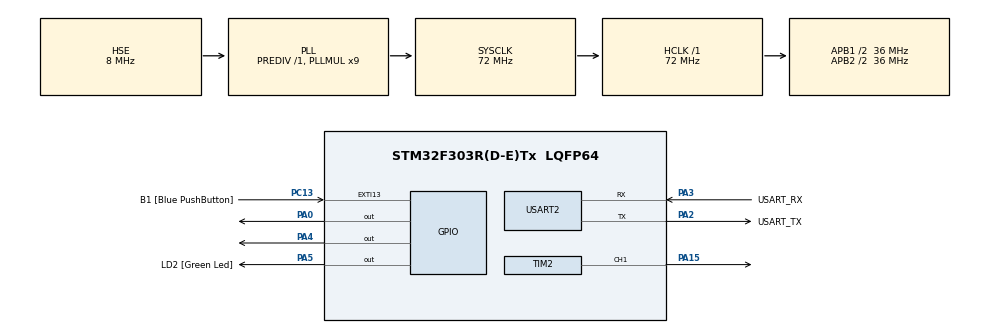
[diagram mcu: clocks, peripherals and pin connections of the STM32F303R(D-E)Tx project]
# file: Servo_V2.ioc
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Mcu.Family=STM32F3
Mcu.Name=STM32F303R(D-E)Tx
Mcu.Package=LQFP64
NVIC.PriorityGroup=NVIC_PRIORITYGROUP_0
PA0.Signal=GPIO_Output
PA13.GPIO_Label=TMS
PA13.Mode=Serial_Wire
PA13.Signal=SYS_JTMS-SWDIO
PA14.GPIO_Label=TCK
PA14.Mode=Serial_Wire
PA14.Signal=SYS_JTCK-SWCLK
PA15.Signal=S_TIM2_CH1_ETR
PA2.GPIO_Label=USART_TX
PA2.GPIO_Mode=GPIO_MODE_AF_PP
PA2.GPIO_PuPd=GPIO_NOPULL
PA2.GPIO_Speed=GPIO_SPEED_FREQ_LOW
PA2.Mode=Asynchronous
PA2.Signal=USART2_TX
PA3.GPIO_Label=USART_RX
PA3.GPIO_Mode=GPIO_MODE_AF_PP
PA3.GPIO_PuPd=GPIO_NOPULL
PA3.GPIO_Speed=GPIO_SPEED_FREQ_LOW
PA3.Mode=Asynchronous
PA3.Signal=USART2_RX
PA4.Signal=GPIO_Output
PA5.GPIO_Label=LD2 [Green Led]
PA5.GPIO_Mode=GPIO_MODE_OUTPUT_PP
PA5.GPIO_PuPd=GPIO_NOPULL
PA5.GPIO_Speed=GPIO_SPEED_FREQ_LOW
PA5.Signal=GPIO_Output
PB3.GPIO_Label=SWO
PB3.Signal=SYS_JTDO-TRACESWO
PC13.GPIO_Label=B1 [Blue PushButton]
PC13.GPIO_ModeDefaultEXTI=GPIO_MODE_IT_FALLING
PC13.Signal=GPXTI13
PC14-OSC32_IN.Signal=RCC_OSC32_IN
PC15-OSC32_OUT.Signal=RCC_OSC32_OUT
PF0-OSC_IN.Mode=HSE-External-Oscillator
PF0-OSC_IN.Signal=RCC_OSC_IN
PF1-OSC_OUT.Mode=HSE-External-Oscillator
PF1-OSC_OUT.Signal=RCC_OSC_OUT
ProjectManager.HeapSize=0x200
ProjectManager.StackSize=0x400
ProjectManager.TargetToolchain=SW4STM32
RCC.AHBFreq_Value=72000000
RCC.APB1CLKDivider=RCC_HCLK_DIV2
RCC.APB1Freq_Value=36000000
RCC.APB1TimFreq_Value=72000000
RCC.APB2CLKDivider=RCC_HCLK_DIV2
RCC.APB2Freq_Value=36000000
RCC.APB2TimFreq_Value=72000000
RCC.CortexFreq_Value=72000000
RCC.HCLKFreq_Value=72000000
RCC.HSE_VALUE=8000000
RCC.HSI_VALUE=8000000
RCC.LSE_VALUE=32768
RCC.PLLM=8
RCC.PLLMUL=RCC_PLL_MUL9
RCC.PLLN=336
RCC.PLLP=RCC_PLLP_DIV4
RCC.PLLQ=7
RCC.PLLSourceVirtual=RCC_PLLSOURCE_HSE
RCC.RCC_PLLsource_Clock_Source_FROM_HSE=RCC_HSE_PREDIV_DIV2
RCC.SYSCLKFreq_VALUE=72000000
RCC.SYSCLKSourceVirtual=RCC_SYSCLKSOURCE_PLLCLK
RCC.USBFreq_Value=72000000
SH.S_TIM2_CH1_ETR.0=TIM2_CH1,Output Compare1 CH1
TIM2.Channel-Output\ Compare1\ CH1=TIM_CHANNEL_1
TIM2.Prescaler=7200
USART2.VirtualMode-Asynchronous=VM_ASYNC
VP_TIM2_VS_ClockSourceINT.Mode=Internal
board=NUCLEO-F303RE

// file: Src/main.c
/**
 ******************************************************************************
 * @file           : main.c
 * @brief          : Main program body
 ******************************************************************************
 ** This notice applies to any and all portions of this file
 * that are not between comment pairs USER CODE BEGIN and
 * USER CODE END. Other portions of this file, whether
 * inserted by the user or by software development tools
 * are owned by their respective copyright owners.
 *
 * COPYRIGHT(c) 2018 STMicroelectronics
 *
 * Redistribution and use in source and binary forms, with or without modification,
 * are permitted provided that the following conditions are met:
 *   1. Redistributions of source code must retain the above copyright notice,
 *      this list of conditions and the following disclaimer.
 *   2. Redistributions in binary form must reproduce the above copyright notice,
 *      this list of conditions and the following disclaimer in the documentation
 *      and/or other materials provided with the distribution.
 *   3. Neither the name of STMicroelectronics nor the names of its contributors
 *      may be used to endorse or promote products derived from this software
 *      without specific prior written permission.
 *
 * THIS SOFTWARE IS PROVIDED BY THE COPYRIGHT HOLDERS AND CONTRIBUTORS "AS IS"
 * AND ANY EXPRESS OR IMPLIED WARRANTIES, INCLUDING, BUT NOT LIMITED TO, THE
 * IMPLIED WARRANTIES OF MERCHANTABILITY AND FITNESS FOR A PARTICULAR PURPOSE ARE
 * DISCLAIMED. IN NO EVENT SHALL THE COPYRIGHT HOLDER OR CONTRIBUTORS BE LIABLE
 * FOR ANY DIRECT, INDIRECT, INCIDENTAL, SPECIAL, EXEMPLARY, OR CONSEQUENTIAL
 * DAMAGES (INCLUDING, BUT NOT LIMITED TO, PROCUREMENT OF SUBSTITUTE GOODS OR
 * SERVICES; LOSS OF USE, DATA, OR PROFITS; OR BUSINESS INTERRUPTION) HOWEVER
 * CAUSED AND ON ANY THEORY OF LIABILITY, WHETHER IN CONTRACT, STRICT LIABILITY,
 * OR TORT (INCLUDING NEGLIGENCE OR OTHERWISE) ARISING IN ANY WAY OUT OF THE USE
 * OF THIS SOFTWARE, EVEN IF ADVISED OF THE POSSIBILITY OF SUCH DAMAGE.
 *
 ******************************************************************************
 */
#include "main.h"
#include "stm32f3xx_hal.h"
#include "tim.h"
#include "usart.h"
#include "gpio.h"

/* USER CODE BEGIN PV */
/* Private variables ---------------------------------------------------------*/

/* USER CODE END PV */

void SystemClock_Config(void);

/* USER CODE BEGIN PFP */
/* Private function prototypes -----------------------------------------------*/

/* USER CODE END PFP */

/* USER CODE BEGIN 0 */
int checkValue(int timer_val, int val, int between) {
//	if (timer_val >= val && timer_val <= val + between) {
//		return 1;
//	}
	if (timer_val == val) {
		return 1;
	}
	return 0;
}
/* USER CODE END 0 */

int main(void) {

	/* MCU Configuration----------------------------------------------------------*/

	/* Reset of all peripherals, Initializes the Flash interface and the Systick. */
	HAL_Init();

	/* Configure the system clock */
	SystemClock_Config();

	/* Initialize all configured peripherals */
	MX_GPIO_Init();
	MX_USART2_UART_Init();
	MX_TIM2_Init();
	/* USER CODE BEGIN 2 */
	HAL_TIM_Base_Start(&htim2);
	GPIO_InitTypeDef gpio; // obiekt gpio bêd¹cy konfiguracj¹ portów GPIO
	gpio.Pin = GPIO_PIN_5; // konfigurujemy pin 5
	gpio.Mode = GPIO_MODE_OUTPUT_PP; // jako wyjœcie
	gpio.Pull = GPIO_NOPULL; // rezystory podci¹gaj¹ce s¹ wy³¹czone
	gpio.Speed = GPIO_SPEED_FREQ_LOW; // wystarcz¹ nieskie czêstotliwoœci prze³¹czania
	HAL_GPIO_Init(GPIOA, &gpio); // inicjalizacja modu³u GPIOA

	/* USER CODE END 2 */

	/* Infinite loop */
	/* USER CODE BEGIN WHILE */
	int timer_val = 0;
	int start = 50;
	int between = 0;
	int min = 100;//100;//50;
	int max = 149;//199;//99;
	int result = (max - min / 2);

	while (1) {
		/* USER CODE END WHILE */
		/* USER CODE BEGIN 3 */
		timer_val = __HAL_TIM_GET_COUNTER(&htim2);

		/*if (it) {
		 result = min;
		 } else {
		 result = max;
		 }*/

		if (checkValue(timer_val, start, between)) {
			HAL_GPIO_WritePin(GPIOA, GPIO_PIN_0, GPIO_PIN_SET);
			HAL_GPIO_WritePin(GPIOA, GPIO_PIN_4, GPIO_PIN_SET);
			if (result == min) {
				result = max;
			} else {
				result = min;
			}
		}
		if (checkValue(timer_val, result, between)) {
			HAL_GPIO_WritePin(GPIOA, GPIO_PIN_0, GPIO_PIN_RESET);
			HAL_GPIO_WritePin(GPIOA, GPIO_PIN_4, GPIO_PIN_RESET);

			HAL_GPIO_TogglePin(GPIOA,GPIO_PIN_5);
			HAL_Delay(1000);
		}

	}
	/* USER CODE END 3 */

}

void SystemClock_Config(void) {

	RCC_OscInitTypeDef RCC_OscInitStruct;
	RCC_ClkInitTypeDef RCC_ClkInitStruct;
	RCC_PeriphCLKInitTypeDef PeriphClkInit;

	/**Initializes the CPU, AHB and APB busses clocks
	 */
	RCC_OscInitStruct.OscillatorType = RCC_OSCILLATORTYPE_HSE;
	RCC_OscInitStruct.HSEState = RCC_HSE_ON;
	RCC_OscInitStruct.HSIState = RCC_HSI_ON;
	RCC_OscInitStruct.PLL.PLLState = RCC_PLL_ON;
	RCC_OscInitStruct.PLL.PLLSource = RCC_PLLSOURCE_HSE;
	RCC_OscInitStruct.PLL.PLLMUL = RCC_PLL_MUL9;
	RCC_OscInitStruct.PLL.PREDIV = RCC_PREDIV_DIV1;
	if (HAL_RCC_OscConfig(&RCC_OscInitStruct) != HAL_OK) {
		_Error_Handler(__FILE__, __LINE__);
	}

	/**Initializes the CPU, AHB and APB busses clocks
	 */
	RCC_ClkInitStruct.ClockType = RCC_CLOCKTYPE_HCLK | RCC_CLOCKTYPE_SYSCLK
			| RCC_CLOCKTYPE_PCLK1 | RCC_CLOCKTYPE_PCLK2;
	RCC_ClkInitStruct.SYSCLKSource = RCC_SYSCLKSOURCE_PLLCLK;
	RCC_ClkInitStruct.AHBCLKDivider = RCC_SYSCLK_DIV1;
	RCC_ClkInitStruct.APB1CLKDivider = RCC_HCLK_DIV2;
	RCC_ClkInitStruct.APB2CLKDivider = RCC_HCLK_DIV2;

	if (HAL_RCC_ClockConfig(&RCC_ClkInitStruct, FLASH_LATENCY_2) != HAL_OK) {
		_Error_Handler(__FILE__, __LINE__);
	}

	PeriphClkInit.PeriphClockSelection = RCC_PERIPHCLK_USART2
			| RCC_PERIPHCLK_TIM2;
	PeriphClkInit.Usart2ClockSelection = RCC_USART2CLKSOURCE_PCLK1;
	PeriphClkInit.Tim2ClockSelection = RCC_TIM2CLK_HCLK;
	if (HAL_RCCEx_PeriphCLKConfig(&PeriphClkInit) != HAL_OK) {
		_Error_Handler(__FILE__, __LINE__);
	}

	/**Configure the Systick interrupt time
	 */
	HAL_SYSTICK_Config(HAL_RCC_GetHCLKFreq() / 1000);

	/**Configure the Systick
	 */
	HAL_SYSTICK_CLKSourceConfig(SYSTICK_CLKSOURCE_HCLK);

	/* SysTick_IRQn interrupt configuration */
	HAL_NVIC_SetPriority(SysTick_IRQn, 0, 0);
}

void _Error_Handler(char *file, int line) {
	while (1) {
	}
}

/************************ (C) COPYRIGHT STMicroelectronics *****END OF FILE****/
